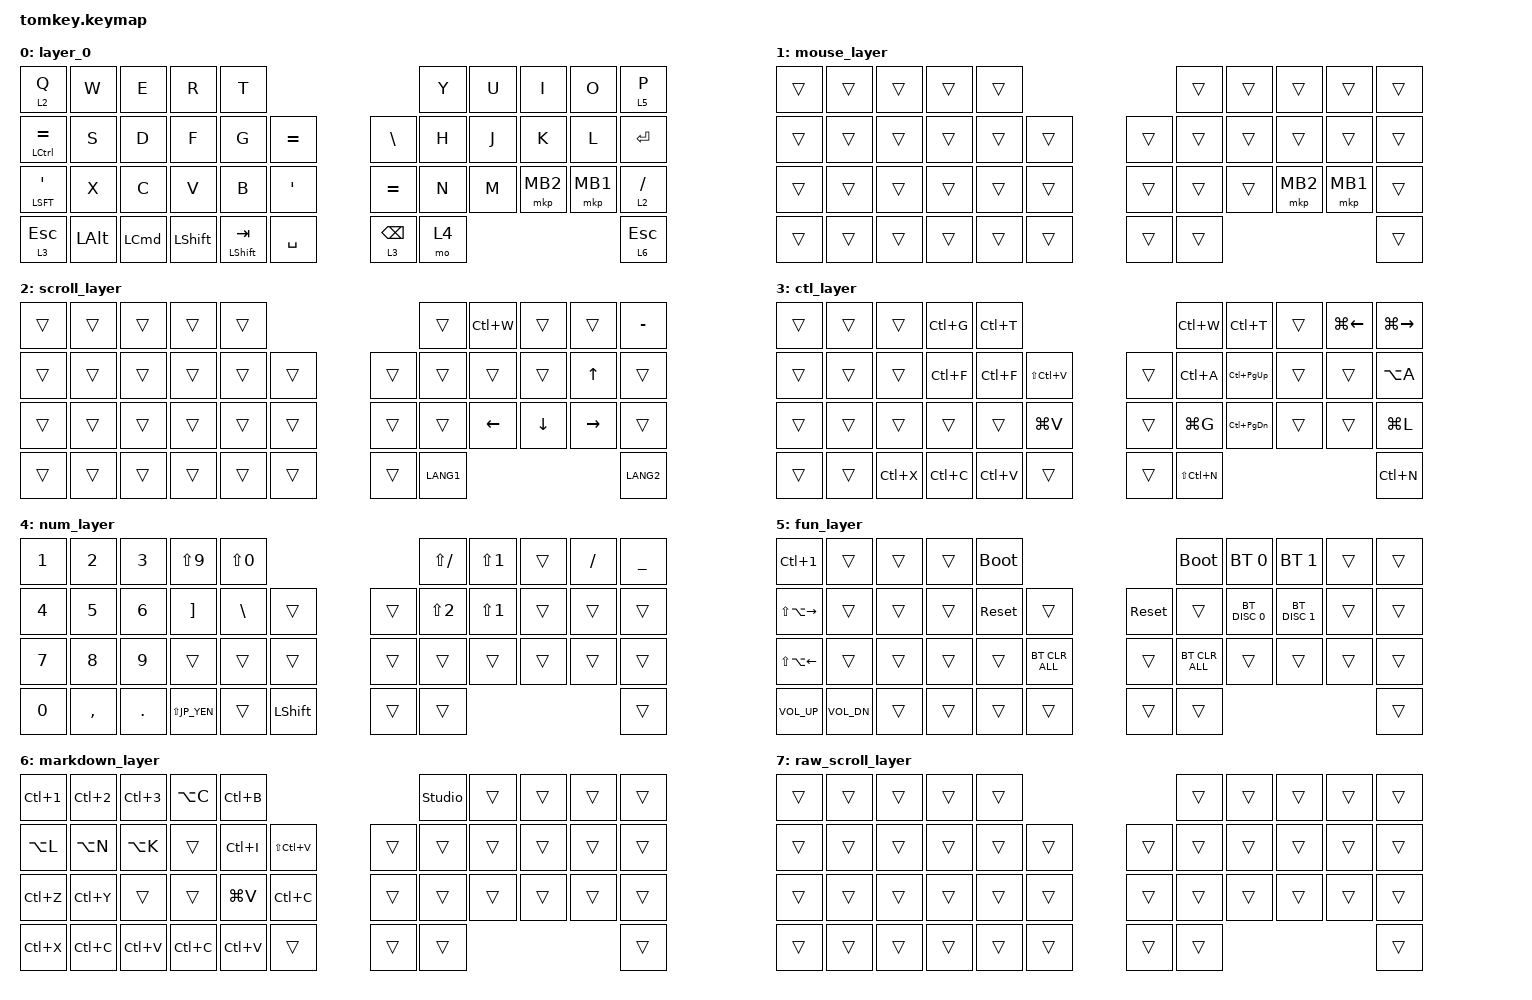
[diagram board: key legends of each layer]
#include <behaviors.dtsi>
#include <dt-bindings/zmk/bt.h>
#include <dt-bindings/zmk/keys.h>
#include <dt-bindings/zmk/pointing.h>
#include <dt-bindings/zmk/input_transform.h>
#include <input/processors.dtsi>
#include <input/processors/runtime-input-processor.dtsi>
#include <behaviors/battery_history_request.dtsi>

// OS設定を日本語キーボードのまま使用するための変換定義
#define JP_DQUOTE AT               // "
#define JP_AMPERSAND CARET         // &
#define JP_QUOTE AMPERSAND         // '
#define JP_EQUAL UNDER             // =
#define JP_CARET EQUAL             // ^
#define JP_YEN 0x89                // ¥
#define JP_PLUS COLON              // +
#define JP_TILDE PLUS              // ~
#define JP_PIPE LS(0x89)           // |
#define JP_AT LEFT_BRACKET         // @
#define JP_COLON SINGLE_QUOTE      // :
#define JP_ASTERISK DOUBLE_QUOTES  // *
#define JP_BACKQUOTE LEFT_BRACE    // `
#define JP_UNDERSCORE LS(0x87)     // _
#define JP_LBRACKET RIGHT_BRACKET  // [
#define JP_RBRACKET BACKSLASH      // ]
#define JP_LPAREN ASTERISK         // (
#define JP_RPAREN LEFT_PARENTHESIS // )
#define JP_LBRACE RIGHT_BRACE      // {
#define JP_RBRACE PIPE             // }
#define JP_KANA LANG1              // かな
#define JP_EISU LANG2              // 英数
#define JP_HANZEN GRAVE           // 半角/全角

&mt {
    quick-tap-ms = <300>;
};

&lt {
    quick-tap-ms = <300>;
};

/ {
    combos {
        compatible = "zmk,combos";

        combo_mb3 {
            timeout-ms = <50>;
            key-positions = <31 32>;
            bindings = <&mkp MB3>;
        };

        combo_vscroll {
            /* K + L 同時押し → 縦スクロール専用レイヤー */
            timeout-ms = <50>;
            key-positions = <19 20>;
            bindings = <&mo 7>;
            layers = <0 1>;
        };
    };

    behaviors {
        aml: aml {
            compatible = "zmk,behavior-aml";
            #binding-cells = <0>;
            layers = <1>;       // 初期レイヤー: MOUSE
            timeout-ms = <1000>;
        };
    };

    keymap {
        compatible = "zmk,keymap";

        layer_0 {
            bindings = <
&lt 2 Q              &kp W         &kp E             &kp R           &kp T                                                            &kp Y            &kp U     &kp I      &kp O     &lt 5 P
&mt LCTRL JP_CARET  &kp S         &kp D             &kp F           &kp G              &kp JP_CARET       &kp BACKSLASH              &kp H            &kp J     &kp K      &kp L     &kp ENTER
&mt LSFT JP_COLON   &kp X         &kp C             &kp V           &kp B              &kp JP_COLON       &kp JP_CARET               &kp N            &kp M     &mkp MB2   &mkp MB1  &lt 2 SLASH
&lt 3 ESCAPE        &kp LEFT_ALT  &kp LEFT_COMMAND  &kp LEFT_SHIFT  &mt LEFT_SHIFT TAB &kp SPACE          &lt 3 BACKSPACE            &mo 4                                           &lt 6 ESCAPE
            >;
        };

        mouse_layer {
            bindings = <
&trans         &trans         &trans            &trans          &trans                                               &trans           &trans    &trans    &trans    &trans
&trans         &trans         &trans            &trans          &trans          &trans            &trans             &trans           &trans    &trans    &trans    &trans
&trans         &trans         &trans            &trans          &trans          &trans            &trans             &trans           &trans    &mkp MB2  &mkp MB1  &trans
&trans         &trans         &trans            &trans          &trans          &trans            &trans             &trans                                         &trans
            >;
        };

        scroll_layer {
            bindings = <
&trans  &trans  &trans  &trans  &trans                      &trans    &kp LC(W)  &trans    &trans    &kp MINUS
&trans  &trans  &trans  &trans  &trans  &trans      &trans  &trans    &trans     &trans    &kp UP    &trans
&trans  &trans  &trans  &trans  &trans  &trans      &trans  &trans    &kp LEFT   &kp DOWN  &kp RIGHT &trans
&trans  &trans  &trans  &trans  &trans  &trans      &trans  &kp JP_KANA &kp JP_EISU
            >;
        };

        ctl_layer {
            bindings = <
&trans  &trans  &trans  &kp LC(G)      &kp LC(T)                                  &kp LC(W)        &kp LC(T)      &trans  &kp LG(LEFT)  &kp LG(RIGHT)
&trans  &trans  &trans  &kp LC(F)      &kp LC(F)      &kp LS(LC(V))  &trans       &kp LC(A)        &kp LC(PG_UP)  &trans  &trans        &kp LA(A)
&trans  &trans  &trans  &trans         &trans         &kp LG(V)      &trans       &kp LG(G)        &kp LC(PG_DN)  &trans  &trans        &kp LG(L)
&trans  &trans  &kp LC(X) &kp LC(C)      &kp LC(V)      &trans       &trans       &kp LS(LC(N))    &kp LC(N)
            >;
        };

        num_layer {
            bindings = <
&kp NUMBER_1  &kp NUMBER_2  &kp NUMBER_3  &kp LS(NUMBER_9)  &kp LS(NUMBER_0)                             &kp LS(SLASH)  &kp LS(NUMBER_1)  &trans         &kp SLASH    &kp JP_EQUAL
&kp NUMBER_4  &kp NUMBER_5  &kp NUMBER_6  &kp JP_LBRACKET   &kp JP_RBRACKET   &trans            &trans  &kp LS(NUMBER_2)  &kp LS(NUMBER_1)  &trans         &trans       &trans
&kp NUMBER_7  &kp NUMBER_8  &kp NUMBER_9  &trans            &trans            &trans            &trans  &trans            &trans            &trans         &trans       &trans
&kp NUMBER_0  &kp COMMA     &kp DOT       &kp LS(JP_YEN)    &trans            &kp LEFT_SHIFT    &trans  &trans                                                          &trans
            >;
        };

        fun_layer {
            bindings = <
&kp LC(NUMBER_1)  &trans  &trans  &trans        &bootloader                           &bootloader      &bt BT_SEL 0  &bt BT_SEL 1  &trans  &trans
&kp LS(LA(RIGHT)) &trans  &trans  &trans        &sys_reset   &trans      &sys_reset   &trans           &bt BT_DISC 0 &bt BT_DISC 1 &trans  &trans
&kp LS(LA(LEFT))  &trans  &trans  &trans        &trans       &bt BT_CLR_ALL &trans    &bt BT_CLR_ALL   &trans        &trans        &trans  &trans
&kp C_VOL_UP        &kp C_VOL_DN &trans &trans      &trans       &trans      &trans       &trans                                               &trans
            >;
        };

        markdown_layer {
            bindings = <
&kp LC(NUMBER_1)  &kp LC(NUMBER_2)  &kp LC(NUMBER_3)  &kp LA(C)  &kp LC(B)                               &studio_unlock  &trans  &trans  &trans  &trans
&kp LA(L)         &kp LA(N)         &kp LA(K)         &trans     &kp LC(I)  &kp LS(LC(V))    &trans      &trans          &trans  &trans  &trans  &trans
&kp LC(Z)         &kp LC(Y)         &trans            &trans     &kp LG(V)  &kp LC(C)       &trans      &trans          &trans  &trans  &trans  &trans
&kp LC(X)         &kp LC(C)         &kp LC(V)         &kp LC(C)  &kp LC(V)  &trans          &trans      &trans                                  &trans
            >;
        };

        raw_scroll_layer {
            bindings = <
&trans  &trans  &trans  &trans  &trans                      &trans  &trans  &trans  &trans  &trans
&trans  &trans  &trans  &trans  &trans  &trans      &trans  &trans  &trans  &trans  &trans  &trans
&trans  &trans  &trans  &trans  &trans  &trans      &trans  &trans  &trans  &trans  &trans  &trans
&trans  &trans  &trans  &trans  &trans  &trans      &trans  &trans                          &trans
            >;
        };
    };
};
